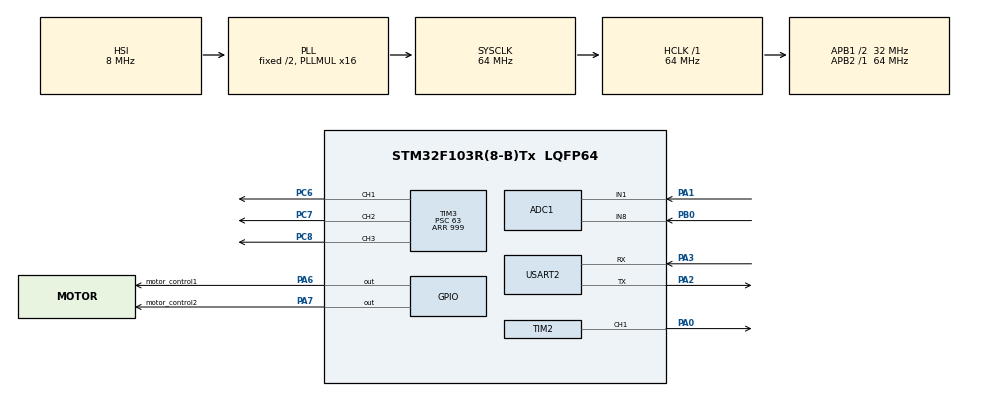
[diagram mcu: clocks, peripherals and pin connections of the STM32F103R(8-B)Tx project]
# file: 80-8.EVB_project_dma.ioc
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ADC1.Channel-0\#ChannelRegularConversion=ADC_CHANNEL_1
ADC1.Channel-2\#ChannelRegularConversion=ADC_CHANNEL_8
ADC1.ContinuousConvMode=ENABLE
ADC1.NbrOfConversion=2
ADC1.NbrOfConversionFlag=1
ADC1.Rank-0\#ChannelRegularConversion=1
ADC1.Rank-2\#ChannelRegularConversion=2
ADC1.SamplingTime-0\#ChannelRegularConversion=ADC_SAMPLETIME_239CYCLES_5
ADC1.SamplingTime-2\#ChannelRegularConversion=ADC_SAMPLETIME_239CYCLES_5
ADC1.master=1
Dma.ADC1.0.Direction=DMA_PERIPH_TO_MEMORY
Dma.ADC1.0.Instance=DMA1_Channel1
Dma.ADC1.0.MemDataAlignment=DMA_MDATAALIGN_HALFWORD
Dma.ADC1.0.MemInc=DMA_MINC_ENABLE
Dma.ADC1.0.Mode=DMA_CIRCULAR
Dma.ADC1.0.PeriphDataAlignment=DMA_PDATAALIGN_HALFWORD
Dma.ADC1.0.PeriphInc=DMA_PINC_DISABLE
Dma.ADC1.0.Priority=DMA_PRIORITY_LOW
Dma.Request0=ADC1
Mcu.Family=STM32F1
Mcu.Name=STM32F103R(8-B)Tx
Mcu.Package=LQFP64
NVIC.DMA1_Channel1_IRQn=true\:0\:0\:false\:false\:true\:false\:true\:true
NVIC.PriorityGroup=NVIC_PRIORITYGROUP_4
NVIC.USART2_IRQn=true\:0\:0\:false\:false\:true\:true\:true\:true
PA0-WKUP.Signal=S_TIM2_CH1_ETR
PA1.Signal=ADCx_IN1
PA13.Mode=Serial_Wire
PA13.Signal=SYS_JTMS-SWDIO
PA14.Mode=Serial_Wire
PA14.Signal=SYS_JTCK-SWCLK
PA2.Mode=Asynchronous
PA2.Signal=USART2_TX
PA3.Mode=Asynchronous
PA3.Signal=USART2_RX
PA6.GPIO_Label=motor_control1
PA6.Signal=GPIO_Output
PA7.GPIO_Label=motor_control2
PA7.Signal=GPIO_Output
PB0.Signal=ADCx_IN8
PC6.Signal=S_TIM3_CH1
PC7.Signal=S_TIM3_CH2
PC8.Signal=S_TIM3_CH3
ProjectManager.HeapSize=0x200
ProjectManager.StackSize=0x400
ProjectManager.TargetToolchain=STM32CubeIDE
RCC.ADCPresc=RCC_ADCPCLK2_DIV8
RCC.AHBFreq_Value=64000000
RCC.APB1CLKDivider=RCC_HCLK_DIV2
RCC.APB1Freq_Value=32000000
RCC.APB1TimFreq_Value=64000000
RCC.APB2Freq_Value=64000000
RCC.APB2TimFreq_Value=64000000
RCC.HCLKFreq_Value=64000000
RCC.PLLMUL=RCC_PLL_MUL16
RCC.SYSCLKFreq_VALUE=64000000
RCC.SYSCLKSource=RCC_SYSCLKSOURCE_PLLCLK
RCC.USBFreq_Value=64000000
SH.ADCx_IN1.0=ADC1_IN1,IN1
SH.ADCx_IN8.0=ADC1_IN8,IN8
SH.S_TIM2_CH1_ETR.0=TIM2_CH1,PWM Generation1 CH1
SH.S_TIM3_CH1.0=TIM3_CH1,PWM Generation1 CH1
SH.S_TIM3_CH2.0=TIM3_CH2,PWM Generation2 CH2
SH.S_TIM3_CH3.0=TIM3_CH3,PWM Generation3 CH3
TIM2.AutoReloadPreload=TIM_AUTORELOAD_PRELOAD_ENABLE
TIM2.Channel-PWM\ Generation1\ CH1=TIM_CHANNEL_1
TIM2.OCPolarity_1=TIM_OCPOLARITY_HIGH
TIM2.Period=999
TIM2.Prescaler=63
TIM3.AutoReloadPreload=TIM_AUTORELOAD_PRELOAD_ENABLE
TIM3.Channel-PWM\ Generation1\ CH1=TIM_CHANNEL_1
TIM3.Channel-PWM\ Generation2\ CH2=TIM_CHANNEL_2
TIM3.Channel-PWM\ Generation3\ CH3=TIM_CHANNEL_3
TIM3.Period=999
TIM3.Prescaler=63
USART2.VirtualMode=VM_ASYNC
VP_TIM2_VS_ClockSourceINT.Mode=Internal
VP_TIM3_VS_ClockSourceINT.Mode=Internal
board=custom

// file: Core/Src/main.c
/* USER CODE BEGIN Header */
/**
  ******************************************************************************
  * @file           : main.c
  * @brief          : Main program body
  ******************************************************************************
  * @attention
  *
  * Copyright (c) 2026 STMicroelectronics.
  * All rights reserved.
  *
  * This software is licensed under terms that can be found in the LICENSE file
  * in the root directory of this software component.
  * If no LICENSE file comes with this software, it is provided AS-IS.
  *
  ******************************************************************************
  */
/* USER CODE END Header */
#include "main.h"

/* USER CODE BEGIN Includes */
#include <stdio.h>
#include <string.h>
/* USER CODE END Includes */

ADC_HandleTypeDef hadc1;
DMA_HandleTypeDef hdma_adc1;

TIM_HandleTypeDef htim2;
TIM_HandleTypeDef htim3;

UART_HandleTypeDef huart2;

/* USER CODE BEGIN PV */
//USART 통신 변수
uint8_t rx_data;
char rx_buffer[50];
uint8_t rx_index = 0;
char rx_flag = 0;

//cds 변수
uint16_t cds_value =0;
uint32_t sensing_time=0;
uint32_t cds_sum =0;
uint16_t cds_average= 0;

//가속도 변수
uint16_t x_value = 0;
uint32_t pre_x_ADC_value = 0;
int x_diff =0;
char first_x_value =1;
uint32_t x_sum = 0;
uint16_t x_average= 0;

//led 변수
uint32_t LED_time =0;
char holding_LED_state =0;

//알고리즘 변수
char moter_mode = 0;
char previous_moter_mode =0;
volatile uint16_t ADC_value[2] = {0};
char holding_flag =0;
uint8_t sensing_count= 0;
char end_flag =0;
char start_flag =0;
/* USER CODE END PV */

void SystemClock_Config(void);
static void MX_GPIO_Init(void);
static void MX_DMA_Init(void);
static void MX_USART2_UART_Init(void);
static void MX_TIM2_Init(void);
static void MX_ADC1_Init(void);
static void MX_TIM3_Init(void);
/* USER CODE BEGIN PFP */
void __io_putchar(int ch)
{
	if(ch == '\n')
	{
		HAL_UART_Transmit (&huart2, (uint8_t*) "\r", 1, 0xffff);
	}

	HAL_UART_Transmit (&huart2, (uint8_t*) &ch, 1, 0xffff);
}

void holding_function(void)
{
	__HAL_TIM_SET_COMPARE(&htim2, TIM_CHANNEL_1, 0); //정지 2개핀 추가
	HAL_GPIO_WritePin(motor_control1_GPIO_Port,motor_control1_Pin,GPIO_PIN_RESET);
	HAL_GPIO_WritePin(motor_control2_GPIO_Port,motor_control2_Pin,GPIO_PIN_RESET);
	printf("시스템 홀딩\n");
	printf("PLAY 나 END을 입력하세요.\n\n");

	while(holding_flag == 1)
	{
  		if (strcmp(rx_buffer,"END")== 0)
  		{
  			start_flag = 0;
  			holding_flag = 0;
  			first_x_value = 1;
			__HAL_TIM_SET_COMPARE(&htim3, TIM_CHANNEL_1, 0);
			__HAL_TIM_SET_COMPARE(&htim3, TIM_CHANNEL_2, 0);
			__HAL_TIM_SET_COMPARE(&htim3, TIM_CHANNEL_3, 0);
  		}
  		else if (strcmp(rx_buffer,"PLAY")== 0)
  		{
  			  end_flag =0;
  			  holding_flag = 0;
  			  previous_moter_mode = 0;
			  first_x_value = 1;
			  __HAL_TIM_SET_COMPARE(&htim3, TIM_CHANNEL_1, 0);
			  __HAL_TIM_SET_COMPARE(&htim3, TIM_CHANNEL_2, 0);
			  __HAL_TIM_SET_COMPARE(&htim3, TIM_CHANNEL_3, 0);
	          strcpy(rx_buffer, "START");
	          printf("프로젝트 시스템 재시작\n");
	          break;
  		}

		if (HAL_GetTick() - LED_time >= 300)
		{
			if (holding_LED_state == 0)
			{
				__HAL_TIM_SET_COMPARE(&htim3, TIM_CHANNEL_1, 1000);
				__HAL_TIM_SET_COMPARE(&htim3, TIM_CHANNEL_2, 1000);
				__HAL_TIM_SET_COMPARE(&htim3, TIM_CHANNEL_3, 1000);
				holding_LED_state = 1;
			}
			else
			{
				__HAL_TIM_SET_COMPARE(&htim3, TIM_CHANNEL_1, 0);
				__HAL_TIM_SET_COMPARE(&htim3, TIM_CHANNEL_2, 0);
				__HAL_TIM_SET_COMPARE(&htim3, TIM_CHANNEL_3, 0);
				holding_LED_state = 0;
			}
			LED_time = HAL_GetTick();
		}
	}
}
/* USER CODE END PFP */

int main(void)
{

  /* MCU Configuration--------------------------------------------------------*/

  /* Reset of all peripherals, Initializes the Flash interface and the Systick. */
  HAL_Init();

  /* Configure the system clock */
  SystemClock_Config();

  /* Initialize all configured peripherals */
  MX_GPIO_Init();
  MX_DMA_Init();
  MX_USART2_UART_Init();
  MX_TIM2_Init();
  MX_ADC1_Init();
  MX_TIM3_Init();
  /* USER CODE BEGIN 2 */
  printf("80-4.EVB_USART_holdingfuntcion_test\n\n");

   HAL_ADCEx_Calibration_Start(&hadc1);//ADC1의 CDS와 X값 calibration
   HAL_ADC_Start_DMA(&hadc1,(uint32_t*)&ADC_value,2);

   HAL_UART_Receive_IT(&huart2,&rx_data,1);//universal analog recieve transmit

   HAL_TIM_PWM_Start(&htim3, TIM_CHANNEL_1);//LED 3색 PWM
   HAL_TIM_PWM_Start(&htim3, TIM_CHANNEL_2);
   HAL_TIM_PWM_Start(&htim3, TIM_CHANNEL_3);

   HAL_TIM_PWM_Start(&htim2,TIM_CHANNEL_1);//모터제어 PWM
   HAL_GPIO_WritePin(motor_control1_GPIO_Port,motor_control1_Pin,GPIO_PIN_RESET);
   HAL_GPIO_WritePin(motor_control2_GPIO_Port,motor_control2_Pin,GPIO_PIN_RESET);
   printf("start을 입력해주세요\n\n");
  /* USER CODE END 2 */

  /* Infinite loop */
  /* USER CODE BEGIN WHILE */
  while (1)
  {
	  cds_sum += ADC_value[0];
	  sensing_count++;

	  if (sensing_count == 10)
	  {
		  sensing_count = 0;
		  cds_average = cds_sum / 10;
		  cds_sum = 0;
	  }

	  if (rx_flag == 1)
	  {
		  if(strcmp(rx_buffer,"START")== 0)
		  {
			  if(start_flag == 0)
			  {
				  start_flag =1;
				  printf("프로젝트 시스템 시작\n\n");
			  }
			  end_flag = 0;

			  if ((0 < cds_average) && (cds_average <= 820)) //밝음,파랑
			  {
				  __HAL_TIM_SET_COMPARE(&htim3, TIM_CHANNEL_1, 1000);
				  __HAL_TIM_SET_COMPARE(&htim3, TIM_CHANNEL_2, 0);
				  __HAL_TIM_SET_COMPARE(&htim3, TIM_CHANNEL_3, 0);
				  moter_mode = 1;
			  }
			  else if ((820 < cds_average) && (cds_average <= 1640))//높구,초록
			  {
				  __HAL_TIM_SET_COMPARE(&htim3, TIM_CHANNEL_1, 0);
				  __HAL_TIM_SET_COMPARE(&htim3, TIM_CHANNEL_2, 0);
				  __HAL_TIM_SET_COMPARE(&htim3, TIM_CHANNEL_3, 1000);
				  moter_mode = 2;
			  }
			  else if ((1640 < cds_average) && (cds_average <= 2460))// 먹구름,노랑 빨100+초50
			  {
				  __HAL_TIM_SET_COMPARE(&htim3, TIM_CHANNEL_1, 0);
				  __HAL_TIM_SET_COMPARE(&htim3, TIM_CHANNEL_2, 800);
				  __HAL_TIM_SET_COMPARE(&htim3, TIM_CHANNEL_3, 200);
				  moter_mode = 3;
			  }
			  else if ((2460 < cds_average) && (cds_average <= 3280))// 소나기,주황
			  {
				  __HAL_TIM_SET_COMPARE(&htim3, TIM_CHANNEL_1, 0);
				  __HAL_TIM_SET_COMPARE(&htim3, TIM_CHANNEL_2, 780);
				  __HAL_TIM_SET_COMPARE(&htim3, TIM_CHANNEL_3, 30);
				  moter_mode = 4;
			  }
			  else if ((3280 < cds_average) && (cds_average <= 4095))//폭우,빨강
			  {
				  __HAL_TIM_SET_COMPARE(&htim3, TIM_CHANNEL_1, 0);
				  __HAL_TIM_SET_COMPARE(&htim3, TIM_CHANNEL_2, 1000);
				  __HAL_TIM_SET_COMPARE(&htim3, TIM_CHANNEL_3, 0);
				  moter_mode = 5;
			  }

			  if (first_x_value == 1)
			  {
					first_x_value = 0;
					pre_x_ADC_value = ADC_value[1];
			  }
			  else
			  {
				  if (ADC_value[1] >= pre_x_ADC_value)
				  {
					x_diff = ADC_value[1] - pre_x_ADC_value;
				  }
				  else
				  {
					x_diff = pre_x_ADC_value - ADC_value[1];
				  }

				  if (x_diff >= 500)
				  {
					holding_flag = 1;
					holding_function();
				  }
				  pre_x_ADC_value = ADC_value[1];
			  }
		  }
		  else if (strcmp(rx_buffer,"END")== 0)
		  {
			  if(end_flag == 0)
			  {
				  printf("프로젝트 시스템 종료\n\n");
				  end_flag = 1;
			  }
			  __HAL_TIM_SET_COMPARE(&htim2, TIM_CHANNEL_1, 0);
				HAL_GPIO_WritePin(motor_control1_GPIO_Port,motor_control1_Pin,GPIO_PIN_RESET);
				HAL_GPIO_WritePin(motor_control2_GPIO_Port,motor_control2_Pin,GPIO_PIN_RESET);

			  __HAL_TIM_SET_COMPARE(&htim3, TIM_CHANNEL_1, 0);
			  __HAL_TIM_SET_COMPARE(&htim3, TIM_CHANNEL_2, 0);
			  __HAL_TIM_SET_COMPARE(&htim3, TIM_CHANNEL_3, 0);
			  start_flag = 0;
			  moter_mode = 0;
			  previous_moter_mode = 0;
		  }
	  }

	  if (moter_mode != previous_moter_mode)
	  {
		  previous_moter_mode = moter_mode;

		  if (moter_mode == 1)
		  {
			  HAL_GPIO_WritePin(motor_control1_GPIO_Port,motor_control1_Pin,GPIO_PIN_SET);
			  __HAL_TIM_SET_COMPARE(&htim2, TIM_CHANNEL_1, 1000);
			  printf("주행 안전, 조도: 밝음, LED:파랑색 입니다.\n\n");
		  }
		  else if (moter_mode == 2)
		  {
			  HAL_GPIO_WritePin(motor_control1_GPIO_Port,motor_control1_Pin,GPIO_PIN_SET);
			  __HAL_TIM_SET_COMPARE(&htim2, TIM_CHANNEL_1, 800);
			  printf("주행 보통, 조도: 높은구름, LED :초록색 입니다.\n\n");
		  }
		  else if (moter_mode == 3)
		  {
			  HAL_GPIO_WritePin(motor_control1_GPIO_Port,motor_control1_Pin,GPIO_PIN_SET);
			  __HAL_TIM_SET_COMPARE(&htim2, TIM_CHANNEL_1, 600);
			  printf("주행 경계, 조도: 먹구름, LED: 노란색입니다.\n\n");
		  }
		  else if (moter_mode == 4)
		  {
			  HAL_GPIO_WritePin(motor_control1_GPIO_Port,motor_control1_Pin,GPIO_PIN_SET);
			  __HAL_TIM_SET_COMPARE(&htim2, TIM_CHANNEL_1, 400);
			  printf("주행 주의, 조도: 소나기, LED: 주황색입니다.\n\n");
		  }
		  else if (moter_mode == 5)
		  {
			  HAL_GPIO_WritePin(motor_control1_GPIO_Port,motor_control1_Pin,GPIO_PIN_SET);
			  __HAL_TIM_SET_COMPARE(&htim2, TIM_CHANNEL_1, 200);
			  printf("서행 필수, 조도: 폭우, LED: 빨간색입니다.\n\n");
		  }
	  }
    /* USER CODE END WHILE */

  }
}

void SystemClock_Config(void)
{
  RCC_OscInitTypeDef RCC_OscInitStruct = {0};
  RCC_ClkInitTypeDef RCC_ClkInitStruct = {0};
  RCC_PeriphCLKInitTypeDef PeriphClkInit = {0};

  /** Initializes the RCC Oscillators according to the specified parameters
  * in the RCC_OscInitTypeDef structure.
  */
  RCC_OscInitStruct.OscillatorType = RCC_OSCILLATORTYPE_HSI;
  RCC_OscInitStruct.HSIState = RCC_HSI_ON;
  RCC_OscInitStruct.HSICalibrationValue = RCC_HSICALIBRATION_DEFAULT;
  RCC_OscInitStruct.PLL.PLLState = RCC_PLL_ON;
  RCC_OscInitStruct.PLL.PLLSource = RCC_PLLSOURCE_HSI_DIV2;
  RCC_OscInitStruct.PLL.PLLMUL = RCC_PLL_MUL16;
  if (HAL_RCC_OscConfig(&RCC_OscInitStruct) != HAL_OK)
  {
    Error_Handler();
  }

  /** Initializes the CPU, AHB and APB buses clocks
  */
  RCC_ClkInitStruct.ClockType = RCC_CLOCKTYPE_HCLK|RCC_CLOCKTYPE_SYSCLK
                              |RCC_CLOCKTYPE_PCLK1|RCC_CLOCKTYPE_PCLK2;
  RCC_ClkInitStruct.SYSCLKSource = RCC_SYSCLKSOURCE_PLLCLK;
  RCC_ClkInitStruct.AHBCLKDivider = RCC_SYSCLK_DIV1;
  RCC_ClkInitStruct.APB1CLKDivider = RCC_HCLK_DIV2;
  RCC_ClkInitStruct.APB2CLKDivider = RCC_HCLK_DIV1;

  if (HAL_RCC_ClockConfig(&RCC_ClkInitStruct, FLASH_LATENCY_2) != HAL_OK)
  {
    Error_Handler();
  }
  PeriphClkInit.PeriphClockSelection = RCC_PERIPHCLK_ADC;
  PeriphClkInit.AdcClockSelection = RCC_ADCPCLK2_DIV8;
  if (HAL_RCCEx_PeriphCLKConfig(&PeriphClkInit) != HAL_OK)
  {
    Error_Handler();
  }
}

static void MX_ADC1_Init(void)
{

  ADC_ChannelConfTypeDef sConfig = {0};

  /** Common config
  */
  hadc1.Instance = ADC1;
  hadc1.Init.ScanConvMode = ADC_SCAN_ENABLE;
  hadc1.Init.ContinuousConvMode = ENABLE;
  hadc1.Init.DiscontinuousConvMode = DISABLE;
  hadc1.Init.ExternalTrigConv = ADC_SOFTWARE_START;
  hadc1.Init.DataAlign = ADC_DATAALIGN_RIGHT;
  hadc1.Init.NbrOfConversion = 2;
  if (HAL_ADC_Init(&hadc1) != HAL_OK)
  {
    Error_Handler();
  }

  /** Configure Regular Channel
  */
  sConfig.Channel = ADC_CHANNEL_1;
  sConfig.Rank = ADC_REGULAR_RANK_1;
  sConfig.SamplingTime = ADC_SAMPLETIME_239CYCLES_5;
  if (HAL_ADC_ConfigChannel(&hadc1, &sConfig) != HAL_OK)
  {
    Error_Handler();
  }

  /** Configure Regular Channel
  */
  sConfig.Channel = ADC_CHANNEL_8;
  sConfig.Rank = ADC_REGULAR_RANK_2;
  if (HAL_ADC_ConfigChannel(&hadc1, &sConfig) != HAL_OK)
  {
    Error_Handler();
  }

}

static void MX_TIM2_Init(void)
{

  TIM_ClockConfigTypeDef sClockSourceConfig = {0};
  TIM_MasterConfigTypeDef sMasterConfig = {0};
  TIM_OC_InitTypeDef sConfigOC = {0};

  htim2.Instance = TIM2;
  htim2.Init.Prescaler = 63;
  htim2.Init.CounterMode = TIM_COUNTERMODE_UP;
  htim2.Init.Period = 999;
  htim2.Init.ClockDivision = TIM_CLOCKDIVISION_DIV1;
  htim2.Init.AutoReloadPreload = TIM_AUTORELOAD_PRELOAD_ENABLE;
  if (HAL_TIM_Base_Init(&htim2) != HAL_OK)
  {
    Error_Handler();
  }
  sClockSourceConfig.ClockSource = TIM_CLOCKSOURCE_INTERNAL;
  if (HAL_TIM_ConfigClockSource(&htim2, &sClockSourceConfig) != HAL_OK)
  {
    Error_Handler();
  }
  if (HAL_TIM_PWM_Init(&htim2) != HAL_OK)
  {
    Error_Handler();
  }
  sMasterConfig.MasterOutputTrigger = TIM_TRGO_RESET;
  sMasterConfig.MasterSlaveMode = TIM_MASTERSLAVEMODE_DISABLE;
  if (HAL_TIMEx_MasterConfigSynchronization(&htim2, &sMasterConfig) != HAL_OK)
  {
    Error_Handler();
  }
  sConfigOC.OCMode = TIM_OCMODE_PWM1;
  sConfigOC.Pulse = 0;
  sConfigOC.OCPolarity = TIM_OCPOLARITY_HIGH;
  sConfigOC.OCFastMode = TIM_OCFAST_DISABLE;
  if (HAL_TIM_PWM_ConfigChannel(&htim2, &sConfigOC, TIM_CHANNEL_1) != HAL_OK)
  {
    Error_Handler();
  }
  HAL_TIM_MspPostInit(&htim2);

}

static void MX_TIM3_Init(void)
{

  TIM_ClockConfigTypeDef sClockSourceConfig = {0};
  TIM_MasterConfigTypeDef sMasterConfig = {0};
  TIM_OC_InitTypeDef sConfigOC = {0};

  htim3.Instance = TIM3;
  htim3.Init.Prescaler = 63;
  htim3.Init.CounterMode = TIM_COUNTERMODE_UP;
  htim3.Init.Period = 999;
  htim3.Init.ClockDivision = TIM_CLOCKDIVISION_DIV1;
  htim3.Init.AutoReloadPreload = TIM_AUTORELOAD_PRELOAD_ENABLE;
  if (HAL_TIM_Base_Init(&htim3) != HAL_OK)
  {
    Error_Handler();
  }
  sClockSourceConfig.ClockSource = TIM_CLOCKSOURCE_INTERNAL;
  if (HAL_TIM_ConfigClockSource(&htim3, &sClockSourceConfig) != HAL_OK)
  {
    Error_Handler();
  }
  if (HAL_TIM_PWM_Init(&htim3) != HAL_OK)
  {
    Error_Handler();
  }
  sMasterConfig.MasterOutputTrigger = TIM_TRGO_RESET;
  sMasterConfig.MasterSlaveMode = TIM_MASTERSLAVEMODE_DISABLE;
  if (HAL_TIMEx_MasterConfigSynchronization(&htim3, &sMasterConfig) != HAL_OK)
  {
    Error_Handler();
  }
  sConfigOC.OCMode = TIM_OCMODE_PWM1;
  sConfigOC.Pulse = 0;
  sConfigOC.OCPolarity = TIM_OCPOLARITY_HIGH;
  sConfigOC.OCFastMode = TIM_OCFAST_DISABLE;
  if (HAL_TIM_PWM_ConfigChannel(&htim3, &sConfigOC, TIM_CHANNEL_1) != HAL_OK)
  {
    Error_Handler();
  }
  if (HAL_TIM_PWM_ConfigChannel(&htim3, &sConfigOC, TIM_CHANNEL_2) != HAL_OK)
  {
    Error_Handler();
  }
  if (HAL_TIM_PWM_ConfigChannel(&htim3, &sConfigOC, TIM_CHANNEL_3) != HAL_OK)
  {
    Error_Handler();
  }
  HAL_TIM_MspPostInit(&htim3);

}

static void MX_USART2_UART_Init(void)
{

  huart2.Instance = USART2;
  huart2.Init.BaudRate = 115200;
  huart2.Init.WordLength = UART_WORDLENGTH_8B;
  huart2.Init.StopBits = UART_STOPBITS_1;
  huart2.Init.Parity = UART_PARITY_NONE;
  huart2.Init.Mode = UART_MODE_TX_RX;
  huart2.Init.HwFlowCtl = UART_HWCONTROL_NONE;
  huart2.Init.OverSampling = UART_OVERSAMPLING_16;
  if (HAL_UART_Init(&huart2) != HAL_OK)
  {
    Error_Handler();
  }

}

static void MX_DMA_Init(void)
{

  /* DMA controller clock enable */
  __HAL_RCC_DMA1_CLK_ENABLE();

  /* DMA interrupt init */
  /* DMA1_Channel1_IRQn interrupt configuration */
  HAL_NVIC_SetPriority(DMA1_Channel1_IRQn, 0, 0);
  HAL_NVIC_EnableIRQ(DMA1_Channel1_IRQn);

}

static void MX_GPIO_Init(void)
{
  GPIO_InitTypeDef GPIO_InitStruct = {0};

  /* GPIO Ports Clock Enable */
  __HAL_RCC_GPIOA_CLK_ENABLE();
  __HAL_RCC_GPIOB_CLK_ENABLE();
  __HAL_RCC_GPIOC_CLK_ENABLE();

  /*Configure GPIO pin Output Level */
  HAL_GPIO_WritePin(GPIOA, motor_control1_Pin|motor_control2_Pin, GPIO_PIN_RESET);

  /*Configure GPIO pins : motor_control1_Pin motor_control2_Pin */
  GPIO_InitStruct.Pin = motor_control1_Pin|motor_control2_Pin;
  GPIO_InitStruct.Mode = GPIO_MODE_OUTPUT_PP;
  GPIO_InitStruct.Pull = GPIO_NOPULL;
  GPIO_InitStruct.Speed = GPIO_SPEED_FREQ_LOW;
  HAL_GPIO_Init(GPIOA, &GPIO_InitStruct);

}

/* USER CODE BEGIN 4 */
void HAL_UART_RxCpltCallback (UART_HandleTypeDef *huart)
{
    if (huart->Instance == USART2)
    {
    	rx_flag = 1;
    	if((rx_data=='\r')||(rx_data=='\n'))
    	{
        	if(rx_index>0)
        	{
				rx_buffer[rx_index] = '\0'; //rx_index을 늘릴 필요x , 문자열의 끝 널을 abc'0'로 만들었음
				rx_index = 0;	//rx_index 이제 또 받아야하니 초기화
        	}
    	}
    	else
    	{
    		rx_buffer[rx_index++] = (char)rx_data; //rx_index++ = index++
    	}
    	HAL_UART_Receive_IT(&huart2, &rx_data, 1);
    }
}
/* USER CODE END 4 */

void Error_Handler(void)
{
  __disable_irq();
  while (1)
  {
  }
}
